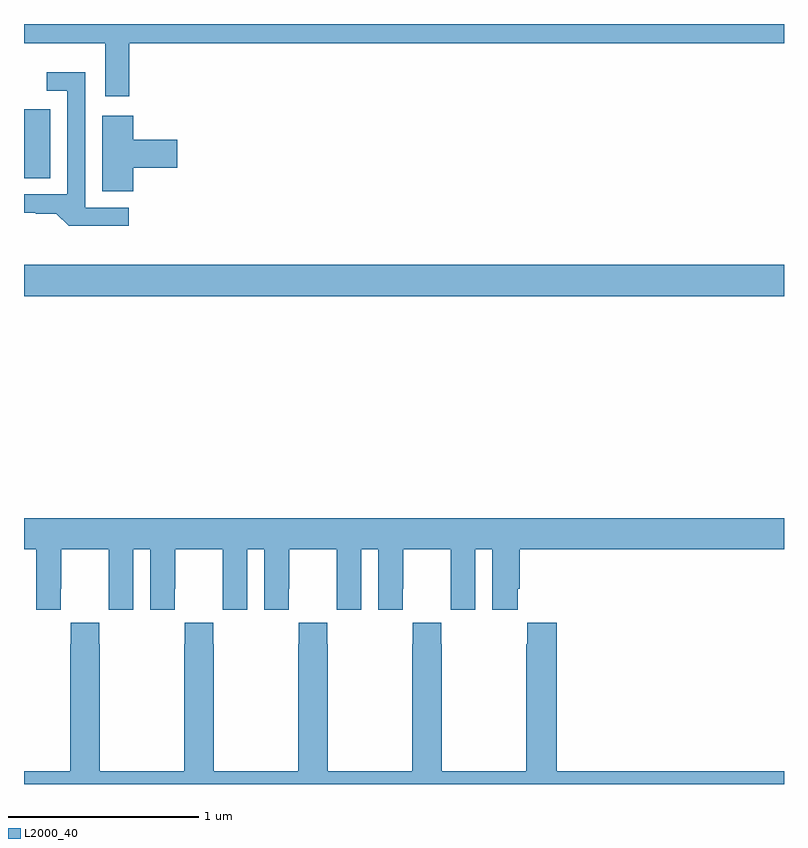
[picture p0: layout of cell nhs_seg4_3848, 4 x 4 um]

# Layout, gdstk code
import gdstk
lib = gdstk.Library(unit=1e-6, precision=1e-09)
def R(c, l, rs):  # rectangles x0, y0, x1, y1
    for r in rs: c.add(gdstk.rectangle(r[:2], r[2:], *l))
def P(c, l, *ps):  # polygons
    for p in ps: c.add(gdstk.Polygon(p, *l))
L2000_40 = (2000, 40)

nhs_seg4_3848 = lib.new_cell('nhs_seg4_3848')
R(nhs_seg4_3848, L2000_40, [(313,815.468,317,815.632), (313,816.088,313.138,816.451)])
P(nhs_seg4_3848, L2000_40, [(313.553,816.8),(317,816.8),(317,816.9),(313,816.9),(313,816.8),(313.427,816.8),(313.427,816.519),(313.553,816.519)],
  [(313.552,815.934),(313.323,815.934),(313.323,816.646),(313.119,816.646),(313.119,816.549),(313.227,816.549),(313.227,816.003),(313,816.003),(313,815.907),(313.061,815.907),(313.061,815.902),(313.169,815.902),(313.235,815.837),(313.552,815.837)],
  [(313.574,816.143),(313.807,816.143),(313.807,816.29),(313.574,816.29),(313.574,816.418),(313.412,816.418),(313.412,816.019),(313.574,816.019)],
  [(313,814.136),(313.064,814.136),(313.064,813.816),(313.194,813.816),(313.194,813.928),(313.195,813.928),(313.195,814.136),(313.445,814.136),(313.445,813.928),(313.446,813.928),(313.446,813.816),(313.576,813.816),(313.576,814.136),(313.664,814.136),(313.664,813.816),(313.794,813.816),(313.794,813.928),(313.795,813.928),(313.795,814.136),(314.045,814.136),(314.045,813.928),(314.046,813.928),(314.046,813.816),(314.176,813.816),(314.176,814.136),(314.264,814.136),(314.264,813.816),(314.394,813.816),(314.394,813.928),(314.395,813.928),(314.395,814.136),(314.645,814.136),(314.645,813.928),(314.646,813.928),(314.646,813.816),(314.776,813.816),(314.776,814.136),(314.864,814.136),(314.864,813.816),(314.994,813.816),(314.994,813.928),(314.995,813.928),(314.995,814.136),(315.245,814.136),(315.245,813.928),(315.246,813.928),(315.246,813.816),(315.376,813.816),(315.376,814.136),(315.464,814.136),(315.464,813.816),(315.598,813.816),(315.598,813.928),(315.608,813.928),(315.608,814.136),(317,814.136),(317,814.3),(313,814.3)],
  [(315.803,813.748),(315.649,813.748),(315.649,813.635),(315.643,813.635),(315.643,812.968),(315.198,812.968),(315.198,813.635),(315.195,813.635),(315.195,813.748),(315.045,813.748),(315.045,813.635),(315.043,813.635),(315.043,812.968),(314.598,812.968),(314.598,813.635),(314.595,813.635),(314.595,813.748),(314.445,813.748),(314.445,813.635),(314.443,813.635),(314.443,812.968),(313.998,812.968),(313.998,813.635),(313.995,813.635),(313.995,813.748),(313.845,813.748),(313.845,813.635),(313.843,813.635),(313.843,812.968),(313.398,812.968),(313.398,813.635),(313.395,813.635),(313.395,813.748),(313.245,813.748),(313.245,813.635),(313.243,813.635),(313.243,812.968),(313,812.968),(313,812.9),(317,812.9),(317,812.968),(315.803,812.968)])

lib.write_gds('nhs_seg4_3848.gds')
